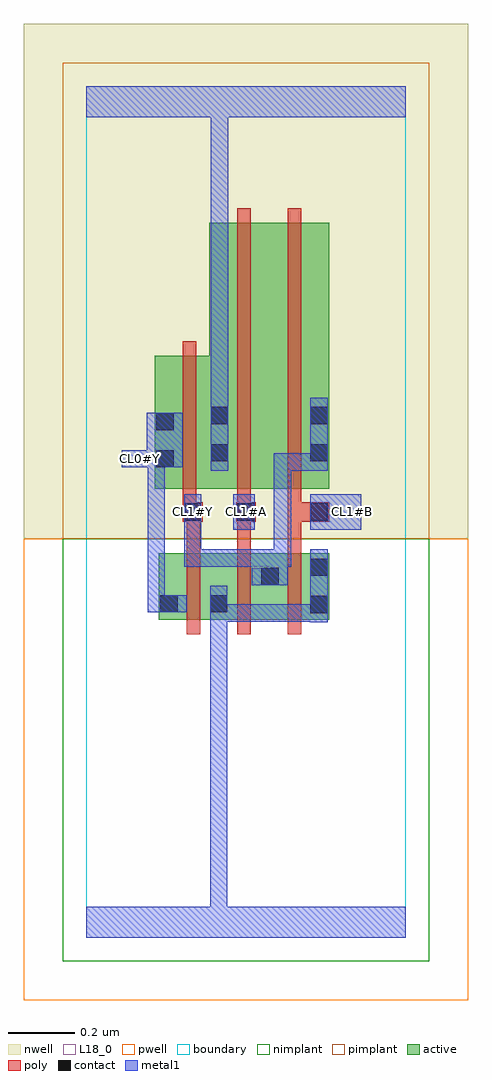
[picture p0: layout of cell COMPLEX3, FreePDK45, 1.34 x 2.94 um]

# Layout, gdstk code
import gdstk
lib = gdstk.Library(unit=1e-6, precision=1e-09)
def R(c, l, rs):  # rectangles x0, y0, x1, y1
    for r in rs: c.add(gdstk.rectangle(r[:2], r[2:], *l))
def A(c, l, x, y, w, h, nx, ny, dx, dy):  # array of equal rectangles
    R(c, l, [(x+i*dx, y+j*dy, x+i*dx+w, y+j*dy+h) for i in range(nx) for j in range(ny)])
active = (1, 0)
pwell = (2, 0)
nwell = (3, 0)
nimplant = (4, 0)
pimplant = (5, 0)
poly = (9, 0)
contact = (10, 0)
metal1 = (11, 0)
L18_0 = (18, 0)
boundary = (235, 0)

complex3 = lib.new_cell('COMPLEX3')
R(complex3, active, [(0.218,0.956,0.278,1.156), (0.218,0.956,0.428,1.156), (0.368,0.956,0.582,1.156), (0.368,0.956,0.428,1.062), (0.522,0.956,0.73,1.156), (0.522,0.956,0.582,1.116), (0.67,0.956,0.73,1.156), (0.206,1.35,0.43,1.75), (0.206,1.35,0.266,1.644), (0.37,1.35,0.55,2.15), (0.55,1.35,0.73,2.15), (0.67,1.35,0.73,2.044), (0.37,1.402,0.43,2.15)])
R(complex3, pwell, [(-0.188,-0.188,1.148,1.2)])
R(complex3, nwell, [(-0.188,1.2,1.148,2.748)])
R(complex3, nimplant, [(-0.072,-0.072,1.032,1.2)])
R(complex3, pimplant, [(-0.072,1.2,1.032,2.632)])
A(complex3, poly, 0.302, 0.912, 0.04, 0.288, 3, 1, 0.152, 0)
A(complex3, poly, 0.302, 1.16, 0.04, 0.13, 3, 1, 0.152, 0)
R(complex3, poly, [(0.29,1.25,0.35,1.31), (0.45,1.25,0.51,1.31), (0.454,1.25,0.494,1.29), (0.454,1.25,0.494,1.29), (0.606,1.25,0.73,1.31), (0.29,1.27,0.33,1.346), (0.29,1.27,0.33,1.31), (0.29,1.27,0.33,1.31), (0.454,1.27,0.494,1.346), (0.606,1.27,0.646,1.346), (0.606,1.27,0.646,1.31), (0.606,1.27,0.646,1.31), (0.29,1.306,0.33,1.794), (0.454,1.306,0.494,2.194), (0.606,1.306,0.646,2.194)])
R(complex3, contact, [(0.674,0.976,0.726,1.028), (0.222,0.978,0.274,1.03), (0.372,0.978,0.424,1.03), (0.526,1.06,0.578,1.112), (0.674,1.088,0.726,1.14), (0.294,1.254,0.346,1.306), (0.454,1.254,0.506,1.306), (0.674,1.254,0.726,1.306), (0.21,1.414,0.262,1.466), (0.374,1.432,0.426,1.484), (0.674,1.432,0.726,1.484), (0.21,1.526,0.262,1.578), (0.374,1.544,0.426,1.596), (0.674,1.544,0.726,1.596)])
R(complex3, metal1, [(0,0,0.96,0.092), (0.372,0.04,0.424,0.092), (0.372,0.04,0.424,0.092), (0.372,0.04,0.424,0.092), (0.372,0.04,0.424,0.092), (0.372,0.04,0.424,0.092), (0.372,0.04,0.424,0.092), (0.372,0.04,0.424,0.092), (0.372,0.04,0.424,0.092), (0.372,0.04,0.424,1.002), (0.674,0.948,0.726,1.168), (0.372,0.95,0.424,1.002), (0.372,0.95,0.424,1.002), (0.372,0.95,0.424,1.002), (0.372,0.95,0.424,1.002), (0.372,0.95,0.424,1.002), (0.372,0.95,0.424,1.002), (0.372,0.95,0.424,1.002), (0.372,0.95,0.424,1.002), (0.372,0.95,0.424,1.058), (0.372,0.95,0.456,1.002), (0.404,0.95,0.456,1.002), (0.404,0.95,0.616,1.002), (0.564,0.95,0.616,1.002), (0.564,0.95,0.616,1.002), (0.564,0.95,0.616,1.002), (0.564,0.95,0.726,1.002), (0.184,0.978,0.236,1.466), (0.184,0.978,0.302,1.03), (0.498,1.06,0.606,1.112), (0.554,1.06,0.606,1.168), (0.294,1.116,0.506,1.168), (0.294,1.116,0.346,1.278), (0.454,1.116,0.506,1.168), (0.454,1.116,0.606,1.168), (0.554,1.116,0.616,1.168), (0.564,1.116,0.616,1.456), (0.294,1.226,0.346,1.278), (0.294,1.226,0.346,1.334), (0.442,1.226,0.506,1.334), (0.674,1.226,0.826,1.334), (0.374,1.404,0.426,1.624), (0.564,1.404,0.616,1.456), (0.564,1.404,0.616,1.456), (0.564,1.404,0.616,1.456), (0.564,1.404,0.726,1.456), (0.674,1.404,0.726,1.456), (0.674,1.404,0.726,1.456), (0.674,1.404,0.726,1.624), (0.106,1.414,0.236,1.466), (0.182,1.414,0.29,1.578), (0.184,1.414,0.236,1.466), (0.184,1.414,0.236,1.466), (0.184,1.414,0.236,1.466), (0.374,1.572,0.426,1.624), (0.374,1.572,0.426,1.624), (0.374,1.572,0.426,1.624), (0.374,1.572,0.426,1.624), (0.374,1.572,0.426,2.52), (0,2.468,0.96,2.56), (0.374,2.468,0.426,2.52), (0.374,2.468,0.426,2.52), (0.374,2.468,0.426,2.52), (0.374,2.468,0.426,2.52)])
R(complex3, L18_0, [(0,0,0.96,0.092), (0.372,0.04,0.424,0.092), (0.372,0.04,0.424,0.092), (0.372,0.04,0.424,0.092), (0.372,0.04,0.424,0.092), (0.372,0.04,0.424,0.092), (0.372,0.04,0.424,0.092), (0.372,0.04,0.424,0.092), (0.372,0.04,0.424,0.092), (0.372,0.04,0.424,1.002), (0.674,0.948,0.726,1.168), (0.372,0.95,0.424,1.002), (0.372,0.95,0.424,1.002), (0.372,0.95,0.424,1.002), (0.372,0.95,0.424,1.002), (0.372,0.95,0.424,1.002), (0.372,0.95,0.424,1.002), (0.372,0.95,0.424,1.002), (0.372,0.95,0.424,1.002), (0.372,0.95,0.424,1.058), (0.372,0.95,0.456,1.002), (0.404,0.95,0.456,1.002), (0.404,0.95,0.616,1.002), (0.564,0.95,0.616,1.002), (0.564,0.95,0.616,1.002), (0.564,0.95,0.616,1.002), (0.564,0.95,0.726,1.002), (0.184,0.978,0.302,1.03), (0.184,0.978,0.236,1.466), (0.498,1.06,0.606,1.112), (0.554,1.06,0.606,1.168), (0.294,1.116,0.346,1.278), (0.294,1.116,0.506,1.168), (0.454,1.116,0.506,1.168), (0.454,1.116,0.606,1.168), (0.554,1.116,0.616,1.168), (0.564,1.116,0.616,1.456), (0.294,1.226,0.346,1.278), (0.294,1.226,0.346,1.334), (0.442,1.226,0.506,1.334), (0.674,1.226,0.826,1.334), (0.294,1.254,0.346,1.306), (0.454,1.254,0.506,1.306), (0.774,1.254,0.826,1.306), (0.374,1.404,0.426,1.624), (0.564,1.404,0.616,1.456), (0.564,1.404,0.616,1.456), (0.564,1.404,0.616,1.456), (0.564,1.404,0.726,1.456), (0.674,1.404,0.726,1.456), (0.674,1.404,0.726,1.456), (0.674,1.404,0.726,1.624), (0.106,1.414,0.236,1.466), (0.134,1.414,0.186,1.466), (0.182,1.414,0.29,1.578), (0.184,1.414,0.236,1.466), (0.184,1.414,0.236,1.466), (0.184,1.414,0.236,1.466), (0.374,1.572,0.426,1.624), (0.374,1.572,0.426,1.624), (0.374,1.572,0.426,1.624), (0.374,1.572,0.426,1.624), (0.374,1.572,0.426,2.52), (0,2.468,0.96,2.56), (0.374,2.468,0.426,2.52), (0.374,2.468,0.426,2.52), (0.374,2.468,0.426,2.52), (0.374,2.468,0.426,2.52)])
R(complex3, boundary, [(0,0,0.96,2.56)])
complex3.add(gdstk.Label('CL0#Y', (0.16,1.44), layer=11, texttype=0))
complex3.add(gdstk.Label('CL1#A', (0.48,1.28), layer=11, texttype=0))
complex3.add(gdstk.Label('CL1#B', (0.8,1.28), layer=11, texttype=0))
complex3.add(gdstk.Label('CL1#Y', (0.32,1.28), layer=11, texttype=0))

lib.write_gds('COMPLEX3.gds')
